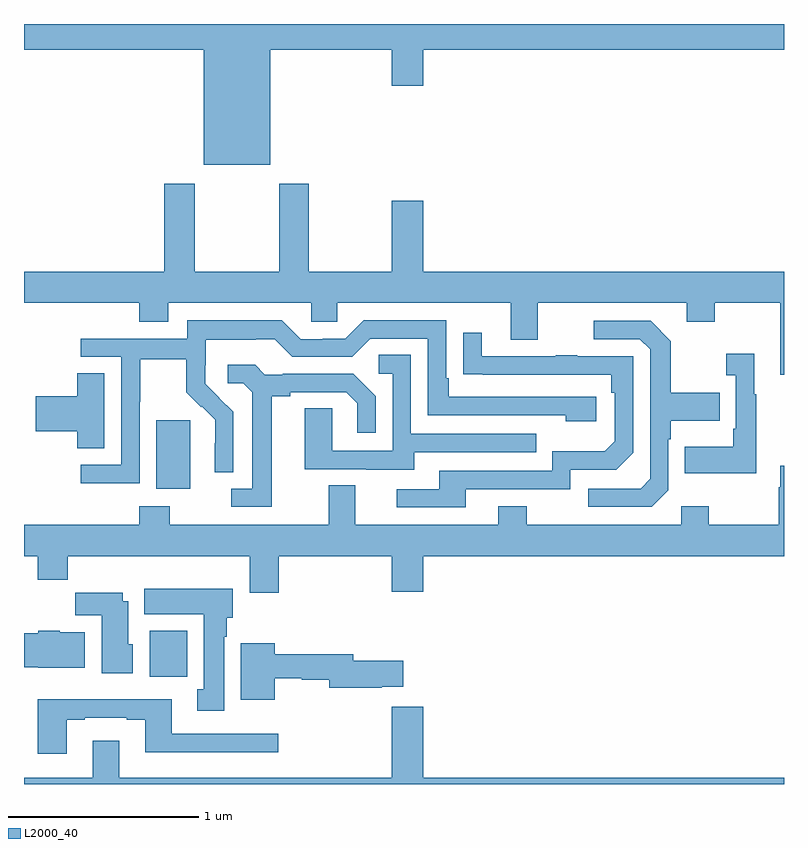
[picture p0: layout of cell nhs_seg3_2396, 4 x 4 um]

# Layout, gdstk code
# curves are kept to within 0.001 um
import gdstk
lib = gdstk.Library(unit=1e-6, precision=1e-09)
def R(c, l, rs):  # rectangles x0, y0, x1, y1
    for r in rs: c.add(gdstk.rectangle(r[:2], r[2:], *l))
def P(c, l, *ps):  # polygons
    for p in ps: c.add(gdstk.Polygon(p, *l))
L2000_40 = (2000, 40)

nhs_seg3_2396 = lib.new_cell('nhs_seg3_2396')
R(nhs_seg3_2396, L2000_40, [(235.661,682.964,235.858,683.206), (235.697,683.954,235.876,684.315)])
P(nhs_seg3_2396, L2000_40, [(236.296,686.264),(236.936,686.264),(236.936,686.076),(237.1,686.076),(237.1,686.264),(239,686.264),(239,686.4),(235,686.4),(235,686.264),(235.946,686.264),(235.946,685.658),(236.296,685.658)],
  [(239,685.096),(237.1,685.096),(237.1,685.471),(236.936,685.471),(236.936,685.096),(236.499,685.096),(236.499,685.558),(236.344,685.558),(236.344,685.096),(235.899,685.096),(235.899,685.558),(235.739,685.558),(235.739,685.096),(235,685.096),(235,684.932),(235.607,684.932),(235.607,684.833),(235.759,684.833),(235.759,684.932),(236.511,684.932),(236.511,684.834),(236.649,684.834),(236.649,684.932),(237.563,684.932),(237.563,684.738),(237.703,684.738),(237.703,684.932),(238.487,684.932),(238.487,684.833),(238.635,684.833),(238.635,684.932),(238.979,684.932),(238.979,684.555),(239,684.555)],
  [(235.608,684.412),(235.611,684.412),(235.611,684.636),(235.855,684.636),(235.855,684.461),(235.932,684.384),(235.935,684.387),(236.006,684.317),(236.006,684.194),(236.004,684.194),(236.004,684.04),(236.1,684.04),(236.1,684.358),(235.954,684.506),(235.954,684.603),(235.956,684.603),(235.956,684.737),(236.219,684.737),(236.219,684.741),(236.319,684.741),(236.412,684.648),(236.727,684.648),(236.823,684.744),(237.126,684.744),(237.126,684.342),(237.851,684.342),(237.851,684.308),(238.012,684.308),(238.012,684.438),(237.235,684.438),(237.235,684.535),(237.222,684.535),(237.222,684.84),(236.787,684.84),(236.691,684.744),(236.573,684.744),(236.573,684.741),(236.457,684.741),(236.357,684.841),(235.86,684.841),(235.86,684.744),(235.299,684.744),(235.299,684.648),(235.512,684.648),(235.512,684.081),(235.299,684.081),(235.299,683.983),(235.608,683.983)],
  [(238.392,683.946),(238.392,684.215),(238.405,684.215),(238.405,684.311),(238.661,684.311),(238.661,684.459),(238.405,684.459),(238.405,684.731),(238.299,684.837),(237.999,684.837),(237.999,684.741),(238.242,684.741),(238.296,684.687),(238.296,684.006),(238.245,683.955),(237.969,683.955),(237.969,683.859),(238.305,683.859)],
  [(237.325,683.952),(237.876,683.952),(237.876,684.054),(238.116,684.054),(238.206,684.144),(238.206,684.651),(237.911,684.651),(237.911,684.656),(237.799,684.656),(237.799,684.651),(237.409,684.651),(237.409,684.775),(237.313,684.775),(237.313,684.556),(238.09,684.555),(238.09,684.458),(238.11,684.458),(238.11,684.204),(238.057,684.151),(237.78,684.151),(237.78,684.048),(237.185,684.048),(237.185,683.952),(236.961,683.952),(236.961,683.856),(237.325,683.856)],
  [(238.855,684.451),(238.843,684.451),(238.843,684.664),(238.695,684.664),(238.695,684.551),(238.746,684.551),(238.746,684.271),(238.734,684.271),(238.734,684.175),(238.477,684.175),(238.477,684.035),(238.855,684.035)],
  [(237.055,684.147),(237.695,684.147),(237.695,684.243),(237.036,684.243),(237.036,684.659),(236.868,684.659),(236.868,684.558),(236.94,684.558),(236.94,684.153),(236.622,684.153),(236.622,684.377),(236.477,684.377),(236.477,684.057),(236.801,684.057),(236.801,684.053),(237.055,684.053)],
  [(236.305,684.44),(236.401,684.44),(236.401,684.462),(236.696,684.462),(236.753,684.405),(236.753,684.249),(236.85,684.249),(236.85,684.442),(236.734,684.558),(236.362,684.558),(236.362,684.555),(236.268,684.555),(236.216,684.607),(236.073,684.607),(236.073,684.51),(236.154,684.51),(236.201,684.463),(236.201,683.955),(236.091,683.955),(236.091,683.859),(236.305,683.859)],
  [(235.423,684.563),(235.28,684.563),(235.28,684.44),(235.062,684.44),(235.062,684.257),(235.28,684.257),(235.28,684.166),(235.423,684.166)],
  [(236.342,683.6),(236.936,683.6),(236.936,683.412),(237.1,683.412),(237.1,683.6),(239,683.6),(239,684.076),(238.979,684.076),(238.979,683.963),(238.972,683.963),(238.972,683.764),(238.605,683.764),(238.605,683.863),(238.458,683.863),(238.458,683.764),(237.645,683.764),(237.645,683.863),(237.497,683.863),(237.497,683.764),(236.743,683.764),(236.743,683.972),(236.603,683.972),(236.603,683.764),(235.767,683.764),(235.767,683.863),(235.607,683.863),(235.607,683.764),(235,683.764),(235,683.6),(235.073,683.6),(235.073,683.476),(235.229,683.476),(235.229,683.6),(236.189,683.6),(236.189,683.406),(236.342,683.406)],
  [(236.053,683.174),(236.068,683.174),(236.068,683.274),(236.098,683.274),(236.098,683.428),(235.634,683.428),(235.634,683.294),(235.946,683.294),(235.946,682.898),(235.913,682.898),(235.913,682.785),(236.053,682.785)],
  [(235.573,683.136),(235.549,683.136),(235.549,683.362),(235.519,683.362),(235.519,683.407),(235.27,683.407),(235.27,683.288),(235.409,683.288),(235.409,682.982),(235.573,682.982)],
  [(235.321,683.2),(235.188,683.2),(235.188,683.206),(235.074,683.206),(235.074,683.193),(235,683.193),(235,683.015),(235.074,683.015),(235.074,683.012),(235.321,683.012)],
  [(236.32,682.956),(236.463,682.956),(236.463,682.948),(236.606,682.948),(236.606,682.906),(236.882,682.906),(236.882,682.913),(236.995,682.913),(236.995,683.048),(236.734,683.048),(236.734,683.084),(236.32,683.084),(236.32,683.14),(236.141,683.14),(236.141,682.844),(236.32,682.844)],
  [(235.225,682.737),(235.321,682.737),(235.321,682.749),(235.541,682.749),(235.541,682.737),(235.637,682.737),(235.637,682.568),(236.338,682.568),(236.338,682.665),(235.777,682.665),(235.777,682.846),(235.073,682.846),(235.073,682.56),(235.225,682.56)],
  [(239,682.432),(237.1,682.432),(237.1,682.807),(236.936,682.807),(236.936,682.432),(235.501,682.432),(235.501,682.627),(235.361,682.627),(235.361,682.432),(235,682.432),(235,682.4),(239,682.4)])

lib.write_gds('nhs_seg3_2396.gds')
